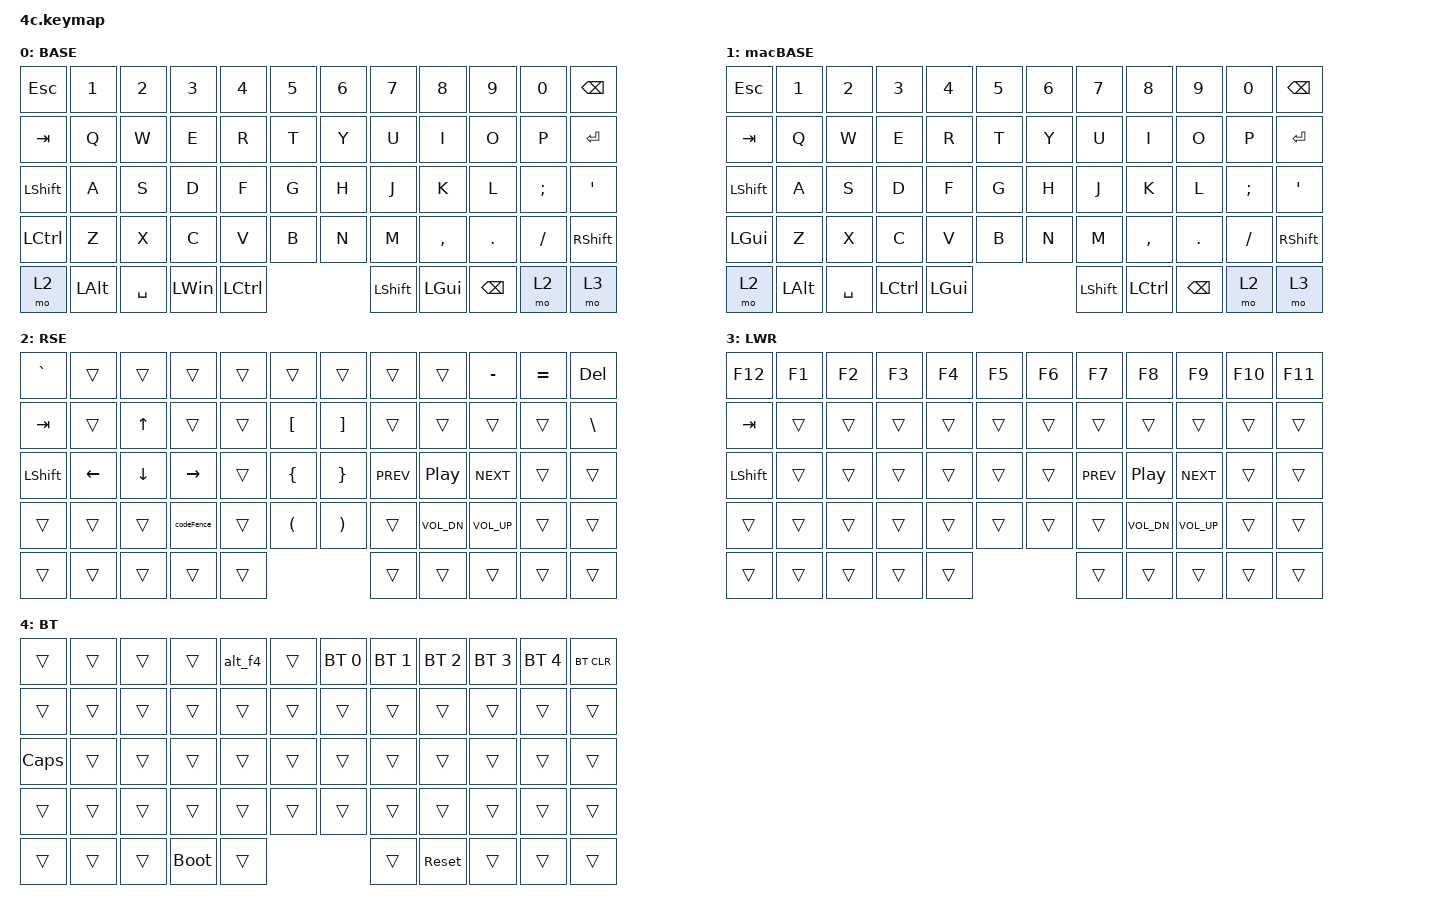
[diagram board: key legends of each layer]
/*
 * Copyright (c) 2020 The ZMK Contributors
 *
 * SPDX-License-Identifier: MIT
 */
/* THIS FILE WAS GENERATED!
 *
 * This file was generated automatically. You may or may not want to
 * edit it directly.
 */

#include <behaviors.dtsi>
#include <dt-bindings/zmk/bt.h>
#include <dt-bindings/zmk/keys.h>

/ {
    combos {
        compatible = "zmk,combos";

        btMo {
            bindings = <&mo 4>;
            key-positions = <56 57>;
        };

        mux {
            bindings = <&kp LC(B)>;
            key-positions = <31 32>;
        };

        esc {
            bindings = <&kp ESCAPE>;
            key-positions = <28 27>;
        };

        swapOS {
            bindings = <&tog 1>;
            key-positions = <51 54>;
        };
    };

    macros {
        codeFence: codeFence {
            compatible = "zmk,behavior-macro";
            label = "new_macro";
            #binding-cells = <0>;
            bindings =
                <&kp GRAVE &kp GRAVE &kp GRAVE &kp RET &kp RET &kp GRAVE &kp GRAVE &kp GRAVE &kp UP>,
                <&macro_press>;

            wait-ms = <3000>;
            tap-ms = <200>;
        };

        alt_f4: alt_f4 {
            compatible = "zmk,behavior-macro";
            label = "ALT_F4";
            #binding-cells = <0>;
            bindings = <&macro_press>, <&kp LALT &kp F4>, <&macro_release>;

            wait-ms = <3000>;
            tap-ms = <100>;
        };
    };

    keymap {
        compatible = "zmk,keymap";

        BASE {
            bindings = <
&kp ESC         &kp NUMBER_1  &kp NUMBER_2  &kp NUMBER_3  &kp NUMBER_4  &kp NUMBER_5    &kp NUMBER_6  &kp NUMBER_7    &kp NUMBER_8  &kp NUMBER_9   &kp NUMBER_0  &kp BACKSPACE
&kp TAB         &kp Q         &kp W         &kp E         &kp R         &kp T           &kp Y         &kp U           &kp I         &kp O          &kp P         &kp ENTER
&kp LEFT_SHIFT  &kp A         &kp S         &kp D         &kp F         &kp G           &kp H         &kp J           &kp K         &kp L          &kp SEMI      &kp APOS
&kp LCTRL       &kp Z         &kp X         &kp C         &kp V         &kp B           &kp N         &kp M           &kp COMMA     &kp PERIOD     &kp SLASH     &kp RIGHT_SHIFT
&mo 2           &kp LEFT_ALT  &kp SPACE     &kp LEFT_WIN  &kp LCTRL                                   &kp LEFT_SHIFT  &kp LEFT_GUI  &kp BACKSPACE  &mo 2         &mo 3
            >;
        };

        macBASE {
            bindings = <
&kp ESC         &kp NUMBER_1  &kp NUMBER_2  &kp NUMBER_3  &kp NUMBER_4  &kp NUMBER_5    &kp NUMBER_6  &kp NUMBER_7    &kp NUMBER_8  &kp NUMBER_9   &kp NUMBER_0  &kp BACKSPACE
&kp TAB         &kp Q         &kp W         &kp E         &kp R         &kp T           &kp Y         &kp U           &kp I         &kp O          &kp P         &kp ENTER
&kp LEFT_SHIFT  &kp A         &kp S         &kp D         &kp F         &kp G           &kp H         &kp J           &kp K         &kp L          &kp SEMI      &kp APOS
&kp LGUI        &kp Z         &kp X         &kp C         &kp V         &kp B           &kp N         &kp M           &kp COMMA     &kp PERIOD     &kp SLASH     &kp RIGHT_SHIFT
&mo 2           &kp LEFT_ALT  &kp SPACE     &kp LCTRL     &kp LGUI                                    &kp LEFT_SHIFT  &kp LCTRL     &kp BACKSPACE  &mo 2         &mo 3
            >;
        };

        RSE {
            bindings = <
&kp GRAVE       &trans    &trans    &trans      &trans  &trans                  &trans                 &trans      &trans        &kp MINUS     &kp EQUAL  &kp DELETE
&kp TAB         &trans    &kp UP    &trans      &trans  &kp LEFT_BRACKET        &kp RIGHT_BRACKET      &trans      &trans        &trans        &trans     &kp BACKSLASH
&kp LEFT_SHIFT  &kp LEFT  &kp DOWN  &kp RIGHT   &trans  &kp LEFT_BRACE          &kp RIGHT_BRACE        &kp C_PREV  &kp C_PP      &kp C_NEXT    &trans     &trans
&trans          &trans    &trans    &codeFence  &trans  &kp LEFT_PARENTHESIS    &kp RIGHT_PARENTHESIS  &trans      &kp C_VOL_DN  &kp C_VOL_UP  &trans     &trans
&trans          &trans    &trans    &trans      &trans                                                 &trans      &trans        &trans        &trans     &trans
            >;
        };

        LWR {
            bindings = <
&kp F12         &kp F1  &kp F2  &kp F3  &kp F4  &kp F5    &kp F6  &kp F7      &kp F8            &kp F9        &kp F10  &kp F11
&kp TAB         &trans  &trans  &trans  &trans  &trans    &trans  &trans      &trans            &trans        &trans   &trans
&kp LEFT_SHIFT  &trans  &trans  &trans  &trans  &trans    &trans  &kp C_PREV  &kp C_PLAY_PAUSE  &kp C_NEXT    &trans   &trans
&trans          &trans  &trans  &trans  &trans  &trans    &trans  &trans      &kp C_VOL_DN      &kp C_VOL_UP  &trans   &trans
&trans          &trans  &trans  &trans  &trans                    &trans      &trans            &trans        &trans   &trans
            >;
        };

        BT {
            bindings = <
&trans    &trans  &trans  &trans       &alt_f4  &trans    &bt BT_SEL 0  &bt BT_SEL 1  &bt BT_SEL 2  &bt BT_SEL 3  &bt BT_SEL 4  &bt BT_CLR
&trans    &trans  &trans  &trans       &trans   &trans    &trans        &trans        &trans        &trans        &trans        &trans
&kp CAPS  &trans  &trans  &trans       &trans   &trans    &trans        &trans        &trans        &trans        &trans        &trans
&trans    &trans  &trans  &trans       &trans   &trans    &trans        &trans        &trans        &trans        &trans        &trans
&trans    &trans  &trans  &bootloader  &trans                           &trans        &sys_reset    &trans        &trans        &trans
            >;
        };
    };
};
